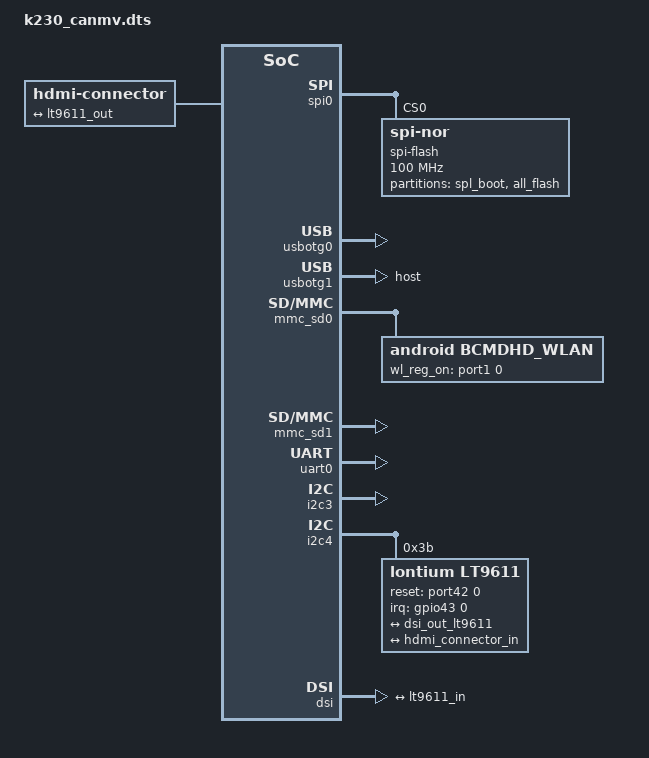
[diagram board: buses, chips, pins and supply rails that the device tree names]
/* Copyright (c) 2023, Canaan Bright Sight Co., Ltd
 *
 * This program is free software; you can redistribute it and/or modify
 * it under the terms of the GNU General Public License version 2 as
 * published by the Free Software Foundation.
*/
#include "k230.dtsi"
#include "clock_provider.dtsi"          /* k230 soc clock tree */
#include "clock_consumer.dtsi"          /* k230 soc clock consumer */
#include "reset_provider.dtsi"          /* k230 soc reset provider */
#include "reset_consumer.dtsi"          /* k230 soc reset consumer */
#include "power_provider.dtsi"          /* k230 soc power provider */
#include "power_consumer.dtsi"          /* k230 soc power consumer */
#include "gpio_provider.dtsi"           /* k230 soc gpio provider */
#include "gpio_consumer.dtsi"           /* k230 soc gpio consumer */

/ {
	aliases {
		serial0 = &uart0;
	};

	chosen {
		bootargs = "earlycon=sbi console=ttyS0,115200 loglevel=8 root=/dev/mmcblk1p2 rw rootwait audit=0";
		linux,initrd-start = <0x0 0xa100000>;
		linux,initrd-end = <0x0 0x0>;
		stdout-path = "serial0:115200";
	};

	hdmi: connector {
		compatible = "hdmi-connector";
		label = "hdmi";
		type = "a";

		port {
			hdmi_connector_in: endpoint {
				remote-endpoint = <&lt9611_out>;
			};
		};
	};
};
&ddr {
	reg = <0x0 0x200000 0x0 0x1fdff000>;  /*linux memory config*/
};

&spi0 {
	status = "okay";
	spi-flash@0 {
		compatible = "jedec,spi-nor";
		//compatible = "spi-nand";
		//compatible = "rohm,dh2228fv";
		#address-cells = <1>;
		#size-cells = <1>;
		reg = <0>;
		spi-max-frequency = <100000000>;
		spi-tx-bus-width = <8>;
		spi-rx-bus-width = <8>;
		status = "okay";
		partitions {
			compatible = "fixed-partitions";
			#address-cells = <1>;
			#size-cells = <1>;

			partition@0 {
			/* spl boot */
			reg = <0x0 0x00080000>;
			label = "spl_boot";
			};
			partition@2000000 {
			/* 32MB for  update image*/
			reg = <0 0x2000000>;
			label = "all_flash";
			};
		};
	};

};

&usbotg0 {
	status = "okay";
};

&usbotg1 {
	dr_mode = "host";
	status = "okay";
};

&gpio52 {
	status = "okay";
};

&gpio53 {
	status = "okay";
};

&gpio_key {
	S2 {
		label = "gpio-key-52";
		linux,code = <106>;
		gpios = <&port52 0 GPIO_ACTIVE_LOW>;
		debounce-interval = <3>;
	};

	S1 {
		label = "gpio-key-53";
		linux,code = <105>;
		gpios = <&port53 0 GPIO_ACTIVE_HIGH>;
		debounce-interval = <3>;
	};
};

&gpio1 {
	status = "okay";
};

&gpio42 {
	status = "okay";
};

&gpio43 {
	status = "okay";
};

&mmc_sd0{
    status = "okay";
    io_fixed_1v8;
    rx_delay_line = <0x00>;
    tx_delay_line = <0x00>;
    bcmdhd_wlan {
        compatible = "android,bcmdhd_wlan";
        gpio_wl_reg_on = <&port1 0 GPIO_ACTIVE_HIGH>;
    };
};

&mmc_sd1{
    status = "okay";
    no-1-8-v;
    cap-sd-highspeed;
    mshc_ctrl_r = <0x00>;
};

&uart0 {
	status = "okay";
};

&i2c3 {
	status = "okay";
};

&i2c4 {
	status = "okay";

	lt9611: hdmi-bridge@3b {
		compatible = "lontium,lt9611";
		reg = <0x3b>;
		reset-gpios = <&port42 0 GPIO_ACTIVE_HIGH>;
		interrupt-parent = <&gpio43>;
		interrupts = <0 IRQ_TYPE_EDGE_FALLING>;
		ports {
			#address-cells  = <1>;
			#size-cells     = <0>;
			port@0 {
				reg = <0>;
				lt9611_in: endpoint {
					remote-endpoint = <&dsi_out_lt9611>;
				};
			};

			port@2 {
				reg = <2>;
				lt9611_out: endpoint {
					remote-endpoint = <&hdmi_connector_in>;
				};
			};
		};
	};
};

&dsi {
	status = "okay";

	ports {
		port@1 {
			reg = <1>;
			dsi_out_lt9611: endpoint {
				remote-endpoint = <&lt9611_in>;
			};
		};
	};
};

&vo {
	vth_line = <10>;
};
